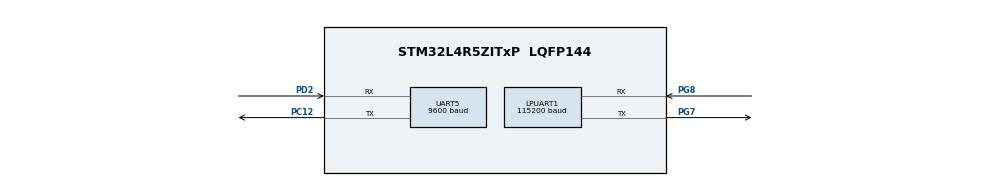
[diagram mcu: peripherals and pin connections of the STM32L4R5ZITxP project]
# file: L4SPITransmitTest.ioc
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LPUART1.BaudRate=115200
LPUART1.WordLength=UART_WORDLENGTH_8B
Mcu.Family=STM32L4
Mcu.Name=STM32L4R5ZITxP
Mcu.Package=LQFP144
NVIC.PriorityGroup=NVIC_PRIORITYGROUP_4
PA0.Signal=S_TIM2_CH1
PA1.Signal=ADCx_IN6
PA10.Signal=USB_OTG_FS_ID
PA13\ (JTMS/SWDIO).Signal=SYS_JTMS-SWDIO
PA14\ (JTCK/SWCLK).Signal=SYS_JTCK-SWCLK
PA3.Signal=ADCx_IN8
PA4.Signal=SPI1_NSS
PA5.Signal=SPI1_SCK
PA6.Signal=SPI1_MISO
PA7.Signal=SPI1_MOSI
PA8.Signal=USB_OTG_FS_SOF
PA9.Signal=USB_OTG_FS_VBUS
PB0.Signal=S_TIM3_CH3
PB1.Signal=ADCx_IN16
PB10.Signal=S_TIM2_CH3
PB12.Signal=SAI2_FS_A
PB13.Signal=SAI2_SCK_A
PB14.Signal=S_TIM15_CH1
PB15.Signal=SAI2_SD_A
PB2.Signal=COMP1_INP
PB3\ (JTDO/TRACESWO).Signal=SPI3_SCK
PB4\ (NJTRST).Signal=SPI3_MISO
PB5.Signal=SPI3_MOSI
PB6.Signal=COMP2_INP
PB8.Signal=I2C1_SCL
PB9.Signal=I2C1_SDA
PC0.Signal=ADCx_IN1
PC1.Signal=ADCx_IN2
PC10.Signal=SDMMC1_D2
PC11.Signal=SDMMC1_D3
PC12.GPIO_PuPd=GPIO_PULLDOWN
PC12.Mode=Asynchronous
PC12.Signal=UART5_TX
PC13.Signal=SYS_WKUP2
PC14-OSC32_IN\ (PC14).Signal=RCC_OSC32_IN
PC15-OSC32_OUT\ (PC15).Signal=RCC_OSC32_OUT
PC2.Signal=ADCx_IN3
PC3.Signal=ADCx_IN4
PC4.Signal=ADCx_IN13
PC5.Signal=ADCx_IN14
PC6.Signal=SAI2_MCLK_A
PC7.Signal=S_TIM3_CH2
PC8.Signal=SDMMC1_D0
PC9.Signal=SDMMC1_D1
PD0.Signal=CAN1_RX
PD14.Signal=S_TIM4_CH3
PD15.Signal=S_TIM4_CH4
PD2.Mode=Asynchronous
PD2.Signal=UART5_RX
PD3.Signal=USART2_CTS
PD4.Signal=USART2_RTS
PD5.Signal=USART2_TX
PD6.Signal=USART2_RX
PD8.Signal=USART3_TX
PD9.Signal=USART3_RX
PE0.Signal=S_TIM4_ETR
PE10.Signal=TIM1_CH2N
PE11.Signal=S_TIM1_CH2
PE12.Signal=TIM1_CH3N
PE13.Signal=S_TIM1_CH3
PE14.Signal=TIM1_BKIN2
PE15.Signal=TIM1_BKIN
PE2.Signal=SAI1_MCLK_A
PE3.Signal=SAI1_SD_B
PE7.Signal=S_TIM1_ETR
PE8.Signal=TIM1_CH1N
PE9.Signal=S_TIM1_CH1
PF0.Signal=I2C2_SDA
PF1.Signal=I2C2_SCL
PF2.Signal=I2C2_SMBA
PF7.Signal=SAI1_MCLK_B
PG7.Mode=Asynchronous
PG7.Signal=LPUART1_TX
PG8.Mode=Asynchronous
PG8.Signal=LPUART1_RX
PH0-OSC_IN\ (PH0).Signal=RCC_OSC_IN
PH1-OSC_OUT\ (PH1).Signal=RCC_OSC_OUT
ProjectManager.HeapSize=0x200
ProjectManager.StackSize=0x400
ProjectManager.TargetToolchain=STM32CubeIDE
RCC.HSE_VALUE=8000000
RCC.HSI48_VALUE=48000000
RCC.HSI_VALUE=16000000
RCC.LSE_VALUE=32768
RCC.MSI_VALUE=4000000
RCC.VCOOutputFreq_Value=32000000
SH.ADCx_IN1.0=ADC1_IN1
SH.ADCx_IN13.0=ADC1_IN13
SH.ADCx_IN14.0=ADC1_IN14
SH.ADCx_IN16.0=ADC1_IN16
SH.ADCx_IN2.0=ADC1_IN2
SH.ADCx_IN3.0=ADC1_IN3
SH.ADCx_IN4.0=ADC1_IN4
SH.ADCx_IN6.0=ADC1_IN6
SH.ADCx_IN8.0=ADC1_IN8
SH.S_TIM15_CH1.0=TIM15_CH1
SH.S_TIM1_CH1.0=TIM1_CH1
SH.S_TIM1_CH2.0=TIM1_CH2
SH.S_TIM1_CH3.0=TIM1_CH3
SH.S_TIM1_ETR.0=TIM1_ETR
SH.S_TIM2_CH1.0=TIM2_CH1
SH.S_TIM2_CH3.0=TIM2_CH3
SH.S_TIM3_CH2.0=TIM3_CH2
SH.S_TIM3_CH3.0=TIM3_CH3
SH.S_TIM4_CH3.0=TIM4_CH3
SH.S_TIM4_CH4.0=TIM4_CH4
SH.S_TIM4_ETR.0=TIM4_ETR
UART5.BaudRate=9600
board=NUCLEO-L4R5ZI-P

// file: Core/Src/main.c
/* USER CODE BEGIN Header */
/**
  ******************************************************************************
  * @file           : main.c
  * @brief          : Main program body
  ******************************************************************************
  * @attention
  *
  * Copyright (c) 2023 STMicroelectronics.
  * All rights reserved.
  *
  * This software is licensed under terms that can be found in the LICENSE file
  * in the root directory of this software component.
  * If no LICENSE file comes with this software, it is provided AS-IS.
  *
  ******************************************************************************
  */
/* USER CODE END Header */
#include "main.h"

/* USER CODE BEGIN Includes */
#include "stdio.h"
/* USER CODE END Includes */

UART_HandleTypeDef hlpuart1;
UART_HandleTypeDef huart5;

void SystemClock_Config(void);
static void MX_GPIO_Init(void);
static void MX_LPUART1_UART_Init(void);
static void MX_UART5_Init(void);

/* USER CODE BEGIN 0 */
struct Data {
	float d1;
	float d2;
	float d3;
};
int batUpdate = 0;
/* USER CODE END 0 */

int main(void)
{

  /* MCU Configuration--------------------------------------------------------*/

  /* Reset of all peripherals, Initializes the Flash interface and the Systick. */
  HAL_Init();

  /* Configure the system clock */
  SystemClock_Config();

  /* Initialize all configured peripherals */
  MX_GPIO_Init();
  MX_LPUART1_UART_Init();
  HAL_Delay(6000);
  MX_UART5_Init();
  /* USER CODE BEGIN 2 */
  //struct Data data = {0.0, 0.0, 0.0};
  //float buff[5] = {0, 0, 0, 44, 0};//{1.1, 2.2, 3.3, 44, 5.5};
  //int batUpdate = 1;
  //int evens = 0;
  uint8_t junk[19];
  HAL_UART_Transmit(&huart5, (uint8_t*) &junk, sizeof(junk), 100);
  int index = 0;
  /* USER CODE END 2 */

  /* Infinite loop */
  /* USER CODE BEGIN WHILE */
  while (1)
  {
//		data.d1 += 0.1;
//		data.d2 += 0.1;
//		data.d3 += 0.1;
//	  	for(int i =0; i< 3; ++i){
//	  		buff[i]++;
//	  	}
//	  	buff[4]++;
//	  	if(++batUpdate%30 == 0) buff[3]++;
		//float buff[5];
	  	float buff[3][5] = {
	  			{ 2.5, 52.7897, 6.12314, 46.352542, 6.0 }, //no warning
				{ 1, 65.7897, 43.7897, 45.1232, 5 }, //BOTH
				{ 2.5, 43.7897, 6.12314, 51.241, 6.0 } //temp warning
	  	};
	  	HAL_Delay(2000);
	  	HAL_UART_Transmit(&huart5, (uint8_t*) &(buff[++index%3]), 20, 100);

//		if (evens == 0) {
//			float buff[5] = { 2.5, 52.7897, 6.12314, 46.352542, 6.0 };
////			for(int i =0; i< 3; ++i){
////				buff[i]++;
////			}
////			buff[4]++;
////			if(++batUpdate%30 == 0) buff[3]++;
//			//char buff[]  = "Hello World!";
//			HAL_UART_Transmit(&huart5, (uint8_t*) &buff, sizeof(buff), 100);
//
//			evens = 1;
//		} else {
//			float buff[5] = { 1, 2, 3, 49, 5 };
//			HAL_UART_Transmit(&huart5, (uint8_t*) &buff, sizeof(buff), 100);
//
//			evens = 0;
//		}
		//printf("SENDING DATA %f\n", buff[0]);
		//HAL_Delay(1000);
    /* USER CODE END WHILE */

  }
}

void SystemClock_Config(void)
{
  RCC_OscInitTypeDef RCC_OscInitStruct = {0};
  RCC_ClkInitTypeDef RCC_ClkInitStruct = {0};

  /** Configure the main internal regulator output voltage
  */
  if (HAL_PWREx_ControlVoltageScaling(PWR_REGULATOR_VOLTAGE_SCALE1) != HAL_OK)
  {
    Error_Handler();
  }

  /** Initializes the RCC Oscillators according to the specified parameters
  * in the RCC_OscInitTypeDef structure.
  */
  RCC_OscInitStruct.OscillatorType = RCC_OSCILLATORTYPE_MSI;
  RCC_OscInitStruct.MSIState = RCC_MSI_ON;
  RCC_OscInitStruct.MSICalibrationValue = 0;
  RCC_OscInitStruct.MSIClockRange = RCC_MSIRANGE_6;
  RCC_OscInitStruct.PLL.PLLState = RCC_PLL_NONE;
  if (HAL_RCC_OscConfig(&RCC_OscInitStruct) != HAL_OK)
  {
    Error_Handler();
  }

  /** Initializes the CPU, AHB and APB buses clocks
  */
  RCC_ClkInitStruct.ClockType = RCC_CLOCKTYPE_HCLK|RCC_CLOCKTYPE_SYSCLK
                              |RCC_CLOCKTYPE_PCLK1|RCC_CLOCKTYPE_PCLK2;
  RCC_ClkInitStruct.SYSCLKSource = RCC_SYSCLKSOURCE_MSI;
  RCC_ClkInitStruct.AHBCLKDivider = RCC_SYSCLK_DIV1;
  RCC_ClkInitStruct.APB1CLKDivider = RCC_HCLK_DIV1;
  RCC_ClkInitStruct.APB2CLKDivider = RCC_HCLK_DIV1;

  if (HAL_RCC_ClockConfig(&RCC_ClkInitStruct, FLASH_LATENCY_0) != HAL_OK)
  {
    Error_Handler();
  }
}

static void MX_LPUART1_UART_Init(void)
{

  hlpuart1.Instance = LPUART1;
  hlpuart1.Init.BaudRate = 115200;
  hlpuart1.Init.WordLength = UART_WORDLENGTH_8B;
  hlpuart1.Init.StopBits = UART_STOPBITS_1;
  hlpuart1.Init.Parity = UART_PARITY_NONE;
  hlpuart1.Init.Mode = UART_MODE_TX_RX;
  hlpuart1.Init.HwFlowCtl = UART_HWCONTROL_NONE;
  hlpuart1.Init.OneBitSampling = UART_ONE_BIT_SAMPLE_DISABLE;
  hlpuart1.Init.ClockPrescaler = UART_PRESCALER_DIV1;
  hlpuart1.AdvancedInit.AdvFeatureInit = UART_ADVFEATURE_NO_INIT;
  hlpuart1.FifoMode = UART_FIFOMODE_DISABLE;
  if (HAL_UART_Init(&hlpuart1) != HAL_OK)
  {
    Error_Handler();
  }
  if (HAL_UARTEx_SetTxFifoThreshold(&hlpuart1, UART_TXFIFO_THRESHOLD_1_8) != HAL_OK)
  {
    Error_Handler();
  }
  if (HAL_UARTEx_SetRxFifoThreshold(&hlpuart1, UART_RXFIFO_THRESHOLD_1_8) != HAL_OK)
  {
    Error_Handler();
  }
  if (HAL_UARTEx_DisableFifoMode(&hlpuart1) != HAL_OK)
  {
    Error_Handler();
  }

}

static void MX_UART5_Init(void)
{

  huart5.Instance = UART5;
  huart5.Init.BaudRate = 9600;
  huart5.Init.WordLength = UART_WORDLENGTH_8B;
  huart5.Init.StopBits = UART_STOPBITS_1;
  huart5.Init.Parity = UART_PARITY_NONE;
  huart5.Init.Mode = UART_MODE_TX_RX;
  huart5.Init.HwFlowCtl = UART_HWCONTROL_NONE;
  huart5.Init.OverSampling = UART_OVERSAMPLING_16;
  huart5.Init.OneBitSampling = UART_ONE_BIT_SAMPLE_DISABLE;
  huart5.Init.ClockPrescaler = UART_PRESCALER_DIV1;
  huart5.AdvancedInit.AdvFeatureInit = UART_ADVFEATURE_NO_INIT;
  if (HAL_UART_Init(&huart5) != HAL_OK)
  {
    Error_Handler();
  }
  if (HAL_UARTEx_SetTxFifoThreshold(&huart5, UART_TXFIFO_THRESHOLD_1_8) != HAL_OK)
  {
    Error_Handler();
  }
  if (HAL_UARTEx_SetRxFifoThreshold(&huart5, UART_RXFIFO_THRESHOLD_1_8) != HAL_OK)
  {
    Error_Handler();
  }
  if (HAL_UARTEx_DisableFifoMode(&huart5) != HAL_OK)
  {
    Error_Handler();
  }

}

static void MX_GPIO_Init(void)
{
  GPIO_InitTypeDef GPIO_InitStruct = {0};

  /* GPIO Ports Clock Enable */
  __HAL_RCC_GPIOE_CLK_ENABLE();
  __HAL_RCC_GPIOC_CLK_ENABLE();
  __HAL_RCC_GPIOF_CLK_ENABLE();
  __HAL_RCC_GPIOH_CLK_ENABLE();
  __HAL_RCC_GPIOA_CLK_ENABLE();
  __HAL_RCC_GPIOB_CLK_ENABLE();
  __HAL_RCC_GPIOD_CLK_ENABLE();
  __HAL_RCC_GPIOG_CLK_ENABLE();
  HAL_PWREx_EnableVddIO2();

  /*Configure GPIO pins : PE2 PE3 */
  GPIO_InitStruct.Pin = GPIO_PIN_2|GPIO_PIN_3;
  GPIO_InitStruct.Mode = GPIO_MODE_AF_PP;
  GPIO_InitStruct.Pull = GPIO_NOPULL;
  GPIO_InitStruct.Speed = GPIO_SPEED_FREQ_LOW;
  GPIO_InitStruct.Alternate = GPIO_AF13_SAI1;
  HAL_GPIO_Init(GPIOE, &GPIO_InitStruct);

  /*Configure GPIO pins : PF0 PF1 PF2 */
  GPIO_InitStruct.Pin = GPIO_PIN_0|GPIO_PIN_1|GPIO_PIN_2;
  GPIO_InitStruct.Mode = GPIO_MODE_AF_OD;
  GPIO_InitStruct.Pull = GPIO_NOPULL;
  GPIO_InitStruct.Speed = GPIO_SPEED_FREQ_VERY_HIGH;
  GPIO_InitStruct.Alternate = GPIO_AF4_I2C2;
  HAL_GPIO_Init(GPIOF, &GPIO_InitStruct);

  /*Configure GPIO pin : PF7 */
  GPIO_InitStruct.Pin = GPIO_PIN_7;
  GPIO_InitStruct.Mode = GPIO_MODE_AF_PP;
  GPIO_InitStruct.Pull = GPIO_NOPULL;
  GPIO_InitStruct.Speed = GPIO_SPEED_FREQ_LOW;
  GPIO_InitStruct.Alternate = GPIO_AF13_SAI1;
  HAL_GPIO_Init(GPIOF, &GPIO_InitStruct);

  /*Configure GPIO pins : PC0 PC1 PC2 PC3
                           PC4 PC5 */
  GPIO_InitStruct.Pin = GPIO_PIN_0|GPIO_PIN_1|GPIO_PIN_2|GPIO_PIN_3
                          |GPIO_PIN_4|GPIO_PIN_5;
  GPIO_InitStruct.Mode = GPIO_MODE_ANALOG_ADC_CONTROL;
  GPIO_InitStruct.Pull = GPIO_NOPULL;
  HAL_GPIO_Init(GPIOC, &GPIO_InitStruct);

  /*Configure GPIO pin : PA0 */
  GPIO_InitStruct.Pin = GPIO_PIN_0;
  GPIO_InitStruct.Mode = GPIO_MODE_AF_PP;
  GPIO_InitStruct.Pull = GPIO_NOPULL;
  GPIO_InitStruct.Speed = GPIO_SPEED_FREQ_LOW;
  GPIO_InitStruct.Alternate = GPIO_AF1_TIM2;
  HAL_GPIO_Init(GPIOA, &GPIO_InitStruct);

  /*Configure GPIO pins : PA1 PA3 */
  GPIO_InitStruct.Pin = GPIO_PIN_1|GPIO_PIN_3;
  GPIO_InitStruct.Mode = GPIO_MODE_ANALOG_ADC_CONTROL;
  GPIO_InitStruct.Pull = GPIO_NOPULL;
  HAL_GPIO_Init(GPIOA, &GPIO_InitStruct);

  /*Configure GPIO pins : PA4 PA5 PA6 PA7 */
  GPIO_InitStruct.Pin = GPIO_PIN_4|GPIO_PIN_5|GPIO_PIN_6|GPIO_PIN_7;
  GPIO_InitStruct.Mode = GPIO_MODE_AF_PP;
  GPIO_InitStruct.Pull = GPIO_NOPULL;
  GPIO_InitStruct.Speed = GPIO_SPEED_FREQ_VERY_HIGH;
  GPIO_InitStruct.Alternate = GPIO_AF5_SPI1;
  HAL_GPIO_Init(GPIOA, &GPIO_InitStruct);

  /*Configure GPIO pin : PB0 */
  GPIO_InitStruct.Pin = GPIO_PIN_0;
  GPIO_InitStruct.Mode = GPIO_MODE_AF_PP;
  GPIO_InitStruct.Pull = GPIO_NOPULL;
  GPIO_InitStruct.Speed = GPIO_SPEED_FREQ_LOW;
  GPIO_InitStruct.Alternate = GPIO_AF2_TIM3;
  HAL_GPIO_Init(GPIOB, &GPIO_InitStruct);

  /*Configure GPIO pin : PB1 */
  GPIO_InitStruct.Pin = GPIO_PIN_1;
  GPIO_InitStruct.Mode = GPIO_MODE_ANALOG_ADC_CONTROL;
  GPIO_InitStruct.Pull = GPIO_NOPULL;
  HAL_GPIO_Init(GPIOB, &GPIO_InitStruct);

  /*Configure GPIO pins : PB2 PB6 */
  GPIO_InitStruct.Pin = GPIO_PIN_2|GPIO_PIN_6;
  GPIO_InitStruct.Mode = GPIO_MODE_ANALOG;
  GPIO_InitStruct.Pull = GPIO_NOPULL;
  HAL_GPIO_Init(GPIOB, &GPIO_InitStruct);

  /*Configure GPIO pins : PE7 PE8 PE9 PE10
                           PE11 PE12 PE13 */
  GPIO_InitStruct.Pin = GPIO_PIN_7|GPIO_PIN_8|GPIO_PIN_9|GPIO_PIN_10
                          |GPIO_PIN_11|GPIO_PIN_12|GPIO_PIN_13;
  GPIO_InitStruct.Mode = GPIO_MODE_AF_PP;
  GPIO_InitStruct.Pull = GPIO_NOPULL;
  GPIO_InitStruct.Speed = GPIO_SPEED_FREQ_LOW;
  GPIO_InitStruct.Alternate = GPIO_AF1_TIM1;
  HAL_GPIO_Init(GPIOE, &GPIO_InitStruct);

  /*Configure GPIO pins : PE14 PE15 */
  GPIO_InitStruct.Pin = GPIO_PIN_14|GPIO_PIN_15;
  GPIO_InitStruct.Mode = GPIO_MODE_AF_PP;
  GPIO_InitStruct.Pull = GPIO_NOPULL;
  GPIO_InitStruct.Speed = GPIO_SPEED_FREQ_LOW;
  GPIO_InitStruct.Alternate = GPIO_AF3_TIM1_COMP1;
  HAL_GPIO_Init(GPIOE, &GPIO_InitStruct);

  /*Configure GPIO pin : PB10 */
  GPIO_InitStruct.Pin = GPIO_PIN_10;
  GPIO_InitStruct.Mode = GPIO_MODE_AF_PP;
  GPIO_InitStruct.Pull = GPIO_NOPULL;
  GPIO_InitStruct.Speed = GPIO_SPEED_FREQ_LOW;
  GPIO_InitStruct.Alternate = GPIO_AF1_TIM2;
  HAL_GPIO_Init(GPIOB, &GPIO_InitStruct);

  /*Configure GPIO pins : PB12 PB13 PB15 */
  GPIO_InitStruct.Pin = GPIO_PIN_12|GPIO_PIN_13|GPIO_PIN_15;
  GPIO_InitStruct.Mode = GPIO_MODE_AF_PP;
  GPIO_InitStruct.Pull = GPIO_NOPULL;
  GPIO_InitStruct.Speed = GPIO_SPEED_FREQ_LOW;
  GPIO_InitStruct.Alternate = GPIO_AF13_SAI2;
  HAL_GPIO_Init(GPIOB, &GPIO_InitStruct);

  /*Configure GPIO pin : PB14 */
  GPIO_InitStruct.Pin = GPIO_PIN_14;
  GPIO_InitStruct.Mode = GPIO_MODE_AF_PP;
  GPIO_InitStruct.Pull = GPIO_NOPULL;
  GPIO_InitStruct.Speed = GPIO_SPEED_FREQ_LOW;
  GPIO_InitStruct.Alternate = GPIO_AF14_TIM15;
  HAL_GPIO_Init(GPIOB, &GPIO_InitStruct);

  /*Configure GPIO pins : PD8 PD9 */
  GPIO_InitStruct.Pin = GPIO_PIN_8|GPIO_PIN_9;
  GPIO_InitStruct.Mode = GPIO_MODE_AF_PP;
  GPIO_InitStruct.Pull = GPIO_NOPULL;
  GPIO_InitStruct.Speed = GPIO_SPEED_FREQ_VERY_HIGH;
  GPIO_InitStruct.Alternate = GPIO_AF7_USART3;
  HAL_GPIO_Init(GPIOD, &GPIO_InitStruct);

  /*Configure GPIO pins : PD14 PD15 */
  GPIO_InitStruct.Pin = GPIO_PIN_14|GPIO_PIN_15;
  GPIO_InitStruct.Mode = GPIO_MODE_AF_PP;
  GPIO_InitStruct.Pull = GPIO_NOPULL;
  GPIO_InitStruct.Speed = GPIO_SPEED_FREQ_LOW;
  GPIO_InitStruct.Alternate = GPIO_AF2_TIM4;
  HAL_GPIO_Init(GPIOD, &GPIO_InitStruct);

  /*Configure GPIO pin : PC6 */
  GPIO_InitStruct.Pin = GPIO_PIN_6;
  GPIO_InitStruct.Mode = GPIO_MODE_AF_PP;
  GPIO_InitStruct.Pull = GPIO_NOPULL;
  GPIO_InitStruct.Speed = GPIO_SPEED_FREQ_LOW;
  GPIO_InitStruct.Alternate = GPIO_AF13_SAI2;
  HAL_GPIO_Init(GPIOC, &GPIO_InitStruct);

  /*Configure GPIO pin : PC7 */
  GPIO_InitStruct.Pin = GPIO_PIN_7;
  GPIO_InitStruct.Mode = GPIO_MODE_AF_PP;
  GPIO_InitStruct.Pull = GPIO_NOPULL;
  GPIO_InitStruct.Speed = GPIO_SPEED_FREQ_LOW;
  GPIO_InitStruct.Alternate = GPIO_AF2_TIM3;
  HAL_GPIO_Init(GPIOC, &GPIO_InitStruct);

  /*Configure GPIO pins : PC8 PC9 PC10 PC11 */
  GPIO_InitStruct.Pin = GPIO_PIN_8|GPIO_PIN_9|GPIO_PIN_10|GPIO_PIN_11;
  GPIO_InitStruct.Mode = GPIO_MODE_AF_PP;
  GPIO_InitStruct.Pull = GPIO_NOPULL;
  GPIO_InitStruct.Speed = GPIO_SPEED_FREQ_VERY_HIGH;
  GPIO_InitStruct.Alternate = GPIO_AF12_SDMMC1;
  HAL_GPIO_Init(GPIOC, &GPIO_InitStruct);

  /*Configure GPIO pins : PA8 PA10 */
  GPIO_InitStruct.Pin = GPIO_PIN_8|GPIO_PIN_10;
  GPIO_InitStruct.Mode = GPIO_MODE_AF_PP;
  GPIO_InitStruct.Pull = GPIO_NOPULL;
  GPIO_InitStruct.Speed = GPIO_SPEED_FREQ_VERY_HIGH;
  GPIO_InitStruct.Alternate = GPIO_AF10_OTG_FS;
  HAL_GPIO_Init(GPIOA, &GPIO_InitStruct);

  /*Configure GPIO pin : PA9 */
  GPIO_InitStruct.Pin = GPIO_PIN_9;
  GPIO_InitStruct.Mode = GPIO_MODE_INPUT;
  GPIO_InitStruct.Pull = GPIO_NOPULL;
  HAL_GPIO_Init(GPIOA, &GPIO_InitStruct);

  /*Configure GPIO pin : PD0 */
  GPIO_InitStruct.Pin = GPIO_PIN_0;
  GPIO_InitStruct.Mode = GPIO_MODE_AF_PP;
  GPIO_InitStruct.Pull = GPIO_NOPULL;
  GPIO_InitStruct.Speed = GPIO_SPEED_FREQ_VERY_HIGH;
  GPIO_InitStruct.Alternate = GPIO_AF9_CAN1;
  HAL_GPIO_Init(GPIOD, &GPIO_InitStruct);

  /*Configure GPIO pins : PD3 PD4 PD5 PD6 */
  GPIO_InitStruct.Pin = GPIO_PIN_3|GPIO_PIN_4|GPIO_PIN_5|GPIO_PIN_6;
  GPIO_InitStruct.Mode = GPIO_MODE_AF_PP;
  GPIO_InitStruct.Pull = GPIO_NOPULL;
  GPIO_InitStruct.Speed = GPIO_SPEED_FREQ_VERY_HIGH;
  GPIO_InitStruct.Alternate = GPIO_AF7_USART2;
  HAL_GPIO_Init(GPIOD, &GPIO_InitStruct);

  /*Configure GPIO pins : PB3 PB4 PB5 */
  GPIO_InitStruct.Pin = GPIO_PIN_3|GPIO_PIN_4|GPIO_PIN_5;
  GPIO_InitStruct.Mode = GPIO_MODE_AF_PP;
  GPIO_InitStruct.Pull = GPIO_NOPULL;
  GPIO_InitStruct.Speed = GPIO_SPEED_FREQ_VERY_HIGH;
  GPIO_InitStruct.Alternate = GPIO_AF6_SPI3;
  HAL_GPIO_Init(GPIOB, &GPIO_InitStruct);

  /*Configure GPIO pins : PB8 PB9 */
  GPIO_InitStruct.Pin = GPIO_PIN_8|GPIO_PIN_9;
  GPIO_InitStruct.Mode = GPIO_MODE_AF_OD;
  GPIO_InitStruct.Pull = GPIO_NOPULL;
  GPIO_InitStruct.Speed = GPIO_SPEED_FREQ_VERY_HIGH;
  GPIO_InitStruct.Alternate = GPIO_AF4_I2C1;
  HAL_GPIO_Init(GPIOB, &GPIO_InitStruct);

  /*Configure GPIO pin : PE0 */
  GPIO_InitStruct.Pin = GPIO_PIN_0;
  GPIO_InitStruct.Mode = GPIO_MODE_AF_PP;
  GPIO_InitStruct.Pull = GPIO_NOPULL;
  GPIO_InitStruct.Speed = GPIO_SPEED_FREQ_LOW;
  GPIO_InitStruct.Alternate = GPIO_AF2_TIM4;
  HAL_GPIO_Init(GPIOE, &GPIO_InitStruct);

}

/* USER CODE BEGIN 4 */
#ifdef __GNUC__
#define PUTCHAR_PROTOTYPE int __io_putchar(int ch)
#else
  #define PUTCHAR_PROTOTYPE int fputc(int ch, FILE *f)
#endif /* __GNUC__ */
PUTCHAR_PROTOTYPE
{
  HAL_UART_Transmit(&hlpuart1, (uint8_t *)&ch, 1, 0xFFFF);
  return ch;
}

/* USER CODE END 4 */

void Error_Handler(void)
{
  __disable_irq();
  while (1)
  {
  }
}
